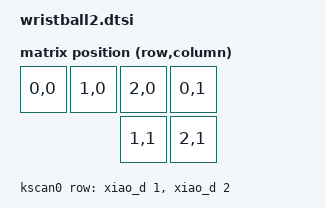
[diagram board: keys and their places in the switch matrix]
#include <dt-bindings/zmk/matrix_transform.h>
#include <physical_layouts.dtsi>

/ {
    chosen {
        zmk,physical-layout = &wristball2_physical_layout;
    };
    
    wristball2_physical_layout: wristball2_physical_layout {
        compatible = "zmk,physical-layout";
        display-name = "Default";
        transform = <&default_transform>;
        kscan = <&kscan0>;

        keys  //                w   h    x    y   rot  rx   ry
            = <&key_physical_attrs 100 100  0    0    0    0    0>
            , <&key_physical_attrs 100 100  100  0    0    0    0>
            , <&key_physical_attrs 100 100  200  0    0    0    0>
            , <&key_physical_attrs 100 100  300  0    0    0    0>
            , <&key_physical_attrs 100 100  200  100  0    0    0>
            , <&key_physical_attrs 100 100  300  100  0    0    0>
            ;
    };

    default_transform: keymap_transform_0 {
        compatible = "zmk,matrix-transform";
        columns = <3>;
        rows = <2>;               
        map = <
            RC(0,0) RC(1,0) RC(2,0)
            RC(0,1) RC(1,1) RC(2,1)
        >;
    };
    
    kscan0: kscan {
        compatible = "zmk,kscan-gpio-matrix";
        label = "KSCAN";
        diode-direction = "col2row";
            row-gpios
                = <&xiao_d 1 (GPIO_ACTIVE_HIGH | GPIO_PULL_DOWN)> 
                , <&xiao_d 2 (GPIO_ACTIVE_HIGH | GPIO_PULL_DOWN)>
                ;
    };
};
